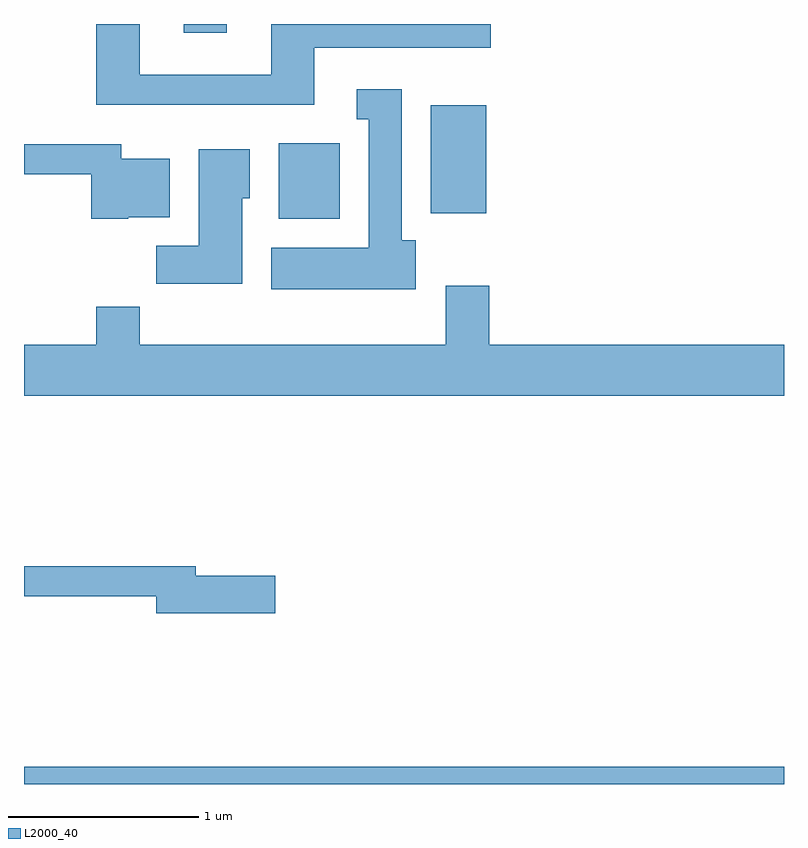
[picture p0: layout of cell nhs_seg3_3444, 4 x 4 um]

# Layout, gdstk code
import gdstk
lib = gdstk.Library(unit=1e-6, precision=1e-09)
def R(c, l, rs):  # rectangles x0, y0, x1, y1
    for r in rs: c.add(gdstk.rectangle(r[:2], r[2:], *l))
def P(c, l, *ps):  # polygons
    for p in ps: c.add(gdstk.Polygon(p, *l))
L2000_40 = (2000, 40)

nhs_seg3_3444 = lib.new_cell('nhs_seg3_3444')
R(nhs_seg3_3444, L2000_40, [(285.611,1203.892,289.611,1203.984), (286.951,1206.866,287.274,1207.264), (287.751,1206.896,288.044,1207.464), (286.451,1207.846,286.679,1207.892)])
P(nhs_seg3_3444, L2000_40, [(287.139,1207.766),(288.068,1207.766),(288.068,1207.892),(286.911,1207.892),(286.911,1207.624),(286.219,1207.624),(286.219,1207.892),(285.991,1207.892),(285.991,1207.466),(287.139,1207.466)],
  [(287.674,1206.754),(287.599,1206.754),(287.599,1207.549),(287.363,1207.549),(287.363,1207.391),(287.426,1207.391),(287.426,1206.714),(286.911,1206.714),(286.911,1206.496),(287.674,1206.496)],
  [(286.16,1206.876),(286.379,1206.876),(286.379,1207.184),(286.124,1207.184),(286.124,1207.259),(285.611,1207.259),(285.611,1207.101),(285.966,1207.101),(285.966,1206.866),(286.16,1206.866)],
  [(286.759,1206.976),(286.799,1206.976),(286.799,1207.234),(286.531,1207.234),(286.531,1206.724),(286.306,1206.724),(286.306,1206.526),(286.759,1206.526)],
  [(289.611,1206.204),(288.059,1206.204),(288.059,1206.514),(287.831,1206.514),(287.831,1206.204),(286.219,1206.204),(286.219,1206.404),(285.991,1206.404),(285.991,1206.204),(285.611,1206.204),(285.611,1205.936),(289.611,1205.936)],
  [(286.934,1204.989),(286.514,1204.989),(286.514,1205.039),(285.611,1205.039),(285.611,1204.881),(286.306,1204.881),(286.306,1204.791),(286.934,1204.791)])

lib.write_gds('nhs_seg3_3444.gds')
